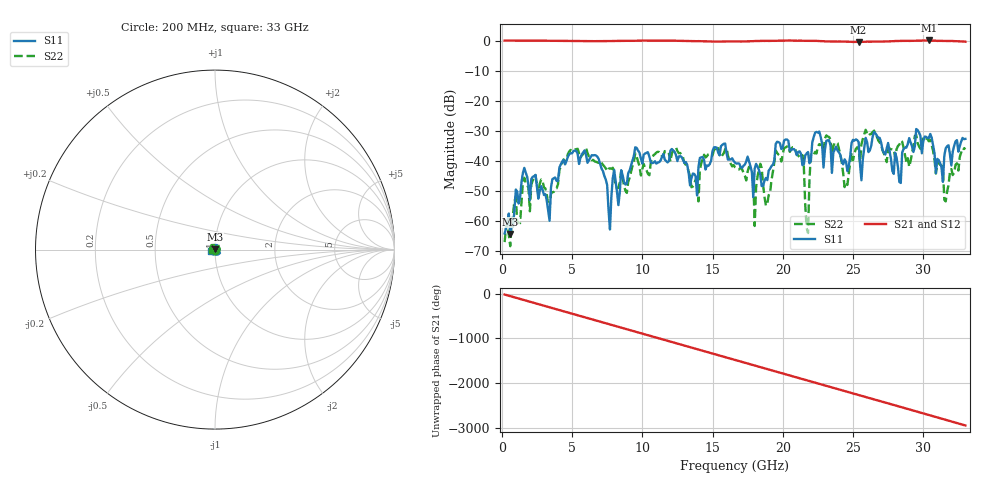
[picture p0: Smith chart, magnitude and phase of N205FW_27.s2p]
# GHZ S RI R 50
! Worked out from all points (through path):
!   329 points, 200 MHz to 33 GHz, reference 50 ohm
!   highest |S21| = 0.03 dB at 30.4 GHz (marker M1); lowest = -0.5 dB at 25.4 GHz (marker M2)
!   group delay of S21, straight-line fit = 248 ps
!   lowest |S11| = -64.5 dB at 600 MHz (marker M3), VSWR 1.00, Z = 50 + j0.0571 ohm
!   |S11| at or under -10 dB: start of sweep to end of sweep
!   |S22| runs from -68.5 to -29.7 dB; largest |S21 - S12| = 0.0022
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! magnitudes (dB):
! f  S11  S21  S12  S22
! 200 MHz  -64.3  0.0  0.0  -67.1
! 600 MHz  -64.5  0.0  0.0  -68.5
! 1.6 GHz  -42.4  0.0  0.0  -45.7
! 3.4 GHz  -60.0  -0.1  -0.1  -55.9
! 5.7 GHz  -37.9  -0.2  -0.2  -38.3
! 7.7 GHz  -62.9  -0.2  -0.2  -42.6
! 8 GHz  -43.1  -0.1  -0.1  -43.6
! 11.2 GHz  -40.5  0.0  0.0  -37.1
! 16.6 GHz  -40.7  -0.3  -0.3  -42.2
! 17.9 GHz  -52.2  -0.2  -0.2  -44.9
! 18 GHz  -42.7  -0.2  -0.2  -61.8
! 18.4 GHz  -44.7  -0.1  -0.1  -41.0
! 18.8 GHz  -45.8  -0.1  -0.1  -55.0
! 20.8 GHz  -36.2  0.0  0.0  -35.5
! 21.4 GHz  -41.5  -0.1  -0.1  -38.2
! 21.8 GHz  -37.1  -0.1  -0.1  -64.1
! 22.1 GHz  -33.9  -0.1  -0.1  -38.2
! 25.4 GHz  -33.8  -0.5  -0.5  -36.3
! 27.6 GHz  -36.8  -0.2  -0.2  -35.9
! 30.4 GHz  -32.5  0.0  0.0  -33.6
! 31.6 GHz  -35.9  -0.1  -0.1  -53.6
! 33 GHz  -32.7  -0.4  -0.4  -35.7
